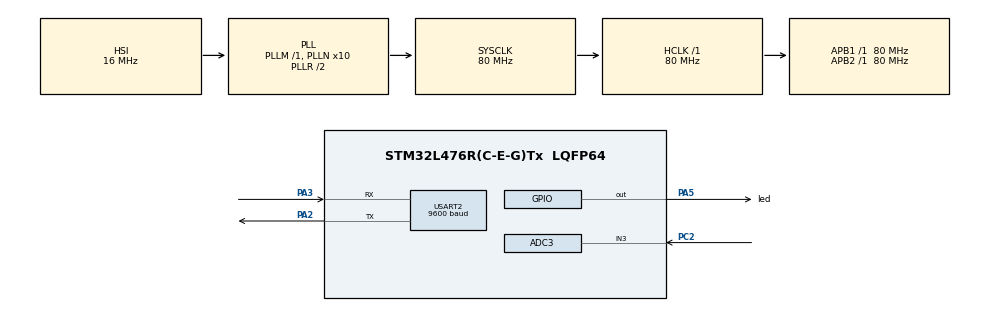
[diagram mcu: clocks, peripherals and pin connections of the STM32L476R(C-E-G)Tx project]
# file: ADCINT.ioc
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ADC3.Channel-0\#ChannelRegularConversion=ADC_CHANNEL_3
ADC3.ContinuousConvMode=DISABLE
ADC3.EOCSelection=ADC_EOC_SEQ_CONV
ADC3.NbrOfConversionFlag=1
ADC3.OffsetNumber-0\#ChannelRegularConversion=ADC_OFFSET_NONE
ADC3.Overrun=ADC_OVR_DATA_PRESERVED
ADC3.Rank-0\#ChannelRegularConversion=1
ADC3.SamplingTime-0\#ChannelRegularConversion=ADC_SAMPLETIME_2CYCLES_5
Mcu.Family=STM32L4
Mcu.Name=STM32L476R(C-E-G)Tx
Mcu.Package=LQFP64
NVIC.ADC3_IRQn=true\:0\:0\:false\:false\:true\:true\:true\:true
NVIC.PriorityGroup=NVIC_PRIORITYGROUP_4
PA2.Mode=Asynchronous
PA2.Signal=USART2_TX
PA3.Mode=Asynchronous
PA3.Signal=USART2_RX
PA5.GPIO_Label=led
PA5.Signal=GPIO_Output
PC2.Signal=ADCx_IN3
PH0-OSC_IN\ (PH0).Mode=HSE-External-Oscillator
PH0-OSC_IN\ (PH0).Signal=RCC_OSC_IN
PH1-OSC_OUT\ (PH1).Mode=HSE-External-Oscillator
PH1-OSC_OUT\ (PH1).Signal=RCC_OSC_OUT
ProjectManager.HeapSize=0x200
ProjectManager.StackSize=0x400
ProjectManager.TargetToolchain=STM32CubeIDE
RCC.ADCFreq_Value=64000000
RCC.AHBFreq_Value=80000000
RCC.APB1Freq_Value=80000000
RCC.APB1TimFreq_Value=80000000
RCC.APB2Freq_Value=80000000
RCC.APB2TimFreq_Value=80000000
RCC.CortexFreq_Value=80000000
RCC.HCLKFreq_Value=80000000
RCC.HSE_VALUE=8000000
RCC.HSI_VALUE=16000000
RCC.LSE_VALUE=32768
RCC.MSI_VALUE=4000000
RCC.PLLN=10
RCC.PLLSourceVirtual=RCC_PLLSOURCE_HSI
RCC.SYSCLKFreq_VALUE=80000000
RCC.SYSCLKSource=RCC_SYSCLKSOURCE_PLLCLK
RCC.USBFreq_Value=64000000
RCC.VCOOutputFreq_Value=160000000
SH.ADCx_IN3.0=ADC3_IN3,IN3-Single-Ended
USART2.BaudRate=9600
USART2.VirtualMode-Asynchronous=VM_ASYNC
board=custom

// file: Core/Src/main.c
/* USER CODE BEGIN Header */
/**
  ******************************************************************************
  * @file           : main.c
  * @brief          : Main program body
  ******************************************************************************
  * @attention
  *
  * Copyright (c) 2024 STMicroelectronics.
  * All rights reserved.
  *
  * This software is licensed under terms that can be found in the LICENSE file
  * in the root directory of this software component.
  * If no LICENSE file comes with this software, it is provided AS-IS.
  *
  ******************************************************************************
  */
/* USER CODE END Header */
#include "main.h"

/* USER CODE BEGIN Includes */
#include <stdio.h>
#include <string.h>
/* USER CODE END Includes */

ADC_HandleTypeDef hadc3;

UART_HandleTypeDef huart2;

/* USER CODE BEGIN PV */
int convend=0;
uint32_t adcResult=0;
char send[30];
float mv=0.0;
/* USER CODE END PV */

void SystemClock_Config(void);
static void MX_GPIO_Init(void);
static void MX_USART2_UART_Init(void);
static void MX_ADC3_Init(void);

int main(void)
{

  /* MCU Configuration--------------------------------------------------------*/

  /* Reset of all peripherals, Initializes the Flash interface and the Systick. */
  HAL_Init();

  /* Configure the system clock */
  SystemClock_Config();

  /* Initialize all configured peripherals */
  MX_GPIO_Init();
  MX_USART2_UART_Init();
  MX_ADC3_Init();
  /* USER CODE BEGIN 2 */
HAL_ADC_Start_IT(&hadc3);
HAL_ADC_Start_IT(&hadc3);
  /* USER CODE END 2 */

  /* Infinite loop */
  /* USER CODE BEGIN WHILE */
  while (1)
  {
	  	  if(convend==1)
	  	  {
	  		  convend=0;
	  		  adcResult=HAL_ADC_GetValue(&hadc3);
		  mv=((float)adcResult)*3300.0/4095.0;
		  sprintf(send,"analogRead : %f\r\n",mv);
		  HAL_UART_Transmit(&huart2, send, strlen(send), HAL_MAX_DELAY);
		  HAL_GPIO_WritePin(led_GPIO_Port, led_Pin, 1);
		  HAL_ADC_Start_IT(&hadc3);
		  HAL_Delay(100);
	  	  }
    /* USER CODE END WHILE */

  }
}

void SystemClock_Config(void)
{
  RCC_OscInitTypeDef RCC_OscInitStruct = {0};
  RCC_ClkInitTypeDef RCC_ClkInitStruct = {0};

  /** Configure the main internal regulator output voltage
  */
  if (HAL_PWREx_ControlVoltageScaling(PWR_REGULATOR_VOLTAGE_SCALE1) != HAL_OK)
  {
    Error_Handler();
  }

  /** Initializes the RCC Oscillators according to the specified parameters
  * in the RCC_OscInitTypeDef structure.
  */
  RCC_OscInitStruct.OscillatorType = RCC_OSCILLATORTYPE_HSI;
  RCC_OscInitStruct.HSIState = RCC_HSI_ON;
  RCC_OscInitStruct.HSICalibrationValue = RCC_HSICALIBRATION_DEFAULT;
  RCC_OscInitStruct.PLL.PLLState = RCC_PLL_ON;
  RCC_OscInitStruct.PLL.PLLSource = RCC_PLLSOURCE_HSI;
  RCC_OscInitStruct.PLL.PLLM = 1;
  RCC_OscInitStruct.PLL.PLLN = 10;
  RCC_OscInitStruct.PLL.PLLP = RCC_PLLP_DIV7;
  RCC_OscInitStruct.PLL.PLLQ = RCC_PLLQ_DIV2;
  RCC_OscInitStruct.PLL.PLLR = RCC_PLLR_DIV2;
  if (HAL_RCC_OscConfig(&RCC_OscInitStruct) != HAL_OK)
  {
    Error_Handler();
  }

  /** Initializes the CPU, AHB and APB buses clocks
  */
  RCC_ClkInitStruct.ClockType = RCC_CLOCKTYPE_HCLK|RCC_CLOCKTYPE_SYSCLK
                              |RCC_CLOCKTYPE_PCLK1|RCC_CLOCKTYPE_PCLK2;
  RCC_ClkInitStruct.SYSCLKSource = RCC_SYSCLKSOURCE_PLLCLK;
  RCC_ClkInitStruct.AHBCLKDivider = RCC_SYSCLK_DIV1;
  RCC_ClkInitStruct.APB1CLKDivider = RCC_HCLK_DIV1;
  RCC_ClkInitStruct.APB2CLKDivider = RCC_HCLK_DIV1;

  if (HAL_RCC_ClockConfig(&RCC_ClkInitStruct, FLASH_LATENCY_4) != HAL_OK)
  {
    Error_Handler();
  }
}

static void MX_ADC3_Init(void)
{

  ADC_ChannelConfTypeDef sConfig = {0};

  /** Common config
  */
  hadc3.Instance = ADC3;
  hadc3.Init.ClockPrescaler = ADC_CLOCK_ASYNC_DIV1;
  hadc3.Init.Resolution = ADC_RESOLUTION_12B;
  hadc3.Init.DataAlign = ADC_DATAALIGN_RIGHT;
  hadc3.Init.ScanConvMode = ADC_SCAN_DISABLE;
  hadc3.Init.EOCSelection = ADC_EOC_SEQ_CONV;
  hadc3.Init.LowPowerAutoWait = DISABLE;
  hadc3.Init.ContinuousConvMode = DISABLE;
  hadc3.Init.NbrOfConversion = 1;
  hadc3.Init.DiscontinuousConvMode = DISABLE;
  hadc3.Init.ExternalTrigConv = ADC_SOFTWARE_START;
  hadc3.Init.ExternalTrigConvEdge = ADC_EXTERNALTRIGCONVEDGE_NONE;
  hadc3.Init.DMAContinuousRequests = DISABLE;
  hadc3.Init.Overrun = ADC_OVR_DATA_PRESERVED;
  hadc3.Init.OversamplingMode = DISABLE;
  if (HAL_ADC_Init(&hadc3) != HAL_OK)
  {
    Error_Handler();
  }

  /** Configure Regular Channel
  */
  sConfig.Channel = ADC_CHANNEL_3;
  sConfig.Rank = ADC_REGULAR_RANK_1;
  sConfig.SamplingTime = ADC_SAMPLETIME_2CYCLES_5;
  sConfig.SingleDiff = ADC_SINGLE_ENDED;
  sConfig.OffsetNumber = ADC_OFFSET_NONE;
  sConfig.Offset = 0;
  if (HAL_ADC_ConfigChannel(&hadc3, &sConfig) != HAL_OK)
  {
    Error_Handler();
  }

}

static void MX_USART2_UART_Init(void)
{

  huart2.Instance = USART2;
  huart2.Init.BaudRate = 9600;
  huart2.Init.WordLength = UART_WORDLENGTH_8B;
  huart2.Init.StopBits = UART_STOPBITS_1;
  huart2.Init.Parity = UART_PARITY_NONE;
  huart2.Init.Mode = UART_MODE_TX_RX;
  huart2.Init.HwFlowCtl = UART_HWCONTROL_NONE;
  huart2.Init.OverSampling = UART_OVERSAMPLING_16;
  huart2.Init.OneBitSampling = UART_ONE_BIT_SAMPLE_DISABLE;
  huart2.AdvancedInit.AdvFeatureInit = UART_ADVFEATURE_NO_INIT;
  if (HAL_UART_Init(&huart2) != HAL_OK)
  {
    Error_Handler();
  }

}

static void MX_GPIO_Init(void)
{
  GPIO_InitTypeDef GPIO_InitStruct = {0};

  /* GPIO Ports Clock Enable */
  __HAL_RCC_GPIOH_CLK_ENABLE();
  __HAL_RCC_GPIOC_CLK_ENABLE();
  __HAL_RCC_GPIOA_CLK_ENABLE();

  /*Configure GPIO pin Output Level */
  HAL_GPIO_WritePin(led_GPIO_Port, led_Pin, GPIO_PIN_RESET);

  /*Configure GPIO pin : led_Pin */
  GPIO_InitStruct.Pin = led_Pin;
  GPIO_InitStruct.Mode = GPIO_MODE_OUTPUT_PP;
  GPIO_InitStruct.Pull = GPIO_NOPULL;
  GPIO_InitStruct.Speed = GPIO_SPEED_FREQ_LOW;
  HAL_GPIO_Init(led_GPIO_Port, &GPIO_InitStruct);

}

/* USER CODE BEGIN 4 */
void HAL_ADC_ConvCpltCallback(ADC_HandleTypeDef* hadc)
{
	convend=1;
}
/* USER CODE END 4 */

void Error_Handler(void)
{
  __disable_irq();
  while (1)
  {
  }
}
